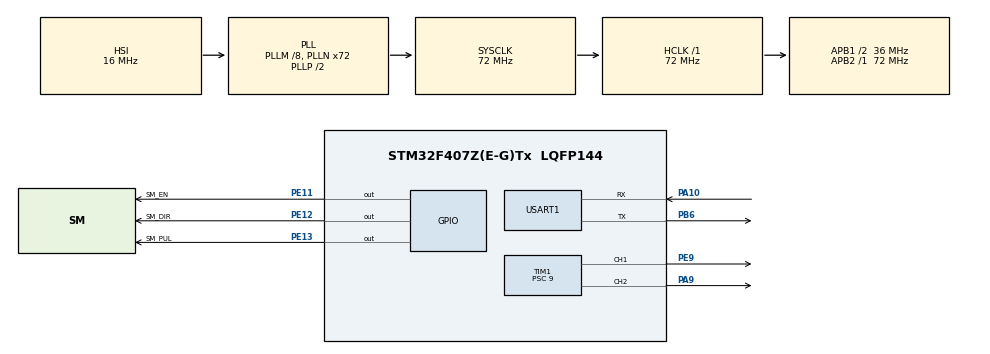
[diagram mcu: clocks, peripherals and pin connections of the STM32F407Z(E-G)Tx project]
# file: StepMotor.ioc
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Mcu.Family=STM32F4
Mcu.Name=STM32F407Z(E-G)Tx
Mcu.Package=LQFP144
NVIC.PriorityGroup=NVIC_PRIORITYGROUP_4
NVIC.TIM1_BRK_TIM9_IRQn=true\:0\:0\:false\:false\:true\:true\:true\:true
NVIC.TIM1_CC_IRQn=true\:0\:0\:false\:false\:true\:true\:true\:true
NVIC.TIM1_TRG_COM_TIM11_IRQn=true\:0\:0\:false\:false\:true\:true\:true\:true
NVIC.TIM1_UP_TIM10_IRQn=true\:0\:0\:false\:false\:true\:true\:true\:true
NVIC.USART1_IRQn=true\:0\:0\:false\:false\:true\:true\:true\:true
PA10.Mode=Asynchronous
PA10.Signal=USART1_RX
PA13.Mode=JTAG_4_pins
PA13.Signal=SYS_JTMS-SWDIO
PA14.Mode=JTAG_4_pins
PA14.Signal=SYS_JTCK-SWCLK
PA15.Mode=JTAG_4_pins
PA15.Signal=SYS_JTDI
PA9.Signal=S_TIM1_CH2
PB3.Mode=JTAG_4_pins
PB3.Signal=SYS_JTDO-SWO
PB6.Mode=Asynchronous
PB6.Signal=USART1_TX
PC14-OSC32_IN.Mode=LSE-External-Clock-Source
PC14-OSC32_IN.Signal=RCC_OSC32_IN
PC15-OSC32_OUT.Mode=LSE-External-Clock-Source
PC15-OSC32_OUT.Signal=RCC_OSC32_OUT
PE11.GPIO_Label=SM_EN
PE11.Signal=GPIO_Output
PE12.GPIO_Label=SM_DIR
PE12.Signal=GPIO_Output
PE13.GPIO_Label=SM_PUL
PE13.Signal=GPIO_Output
PE9.Signal=S_TIM1_CH1
PH0-OSC_IN.Mode=HSE-External-Clock-Source
PH0-OSC_IN.Signal=RCC_OSC_IN
PH1-OSC_OUT.Mode=HSE-External-Clock-Source
PH1-OSC_OUT.Signal=RCC_OSC_OUT
ProjectManager.HeapSize=0x200
ProjectManager.StackSize=0x400
ProjectManager.TargetToolchain=CMake
RCC.48MHZClocksFreq_Value=36000000
RCC.AHBFreq_Value=72000000
RCC.APB1CLKDivider=RCC_HCLK_DIV2
RCC.APB1Freq_Value=36000000
RCC.APB1TimFreq_Value=72000000
RCC.APB2Freq_Value=72000000
RCC.APB2TimFreq_Value=72000000
RCC.CortexFreq_Value=72000000
RCC.HCLKFreq_Value=72000000
RCC.HSE_VALUE=8000000
RCC.HSI_VALUE=16000000
RCC.LSE_VALUE=32768
RCC.PLLM=8
RCC.PLLN=72
RCC.SYSCLKFreq_VALUE=72000000
RCC.SYSCLKSource=RCC_SYSCLKSOURCE_PLLCLK
RCC.VCOOutputFreq_Value=144000000
SH.S_TIM1_CH1.0=TIM1_CH1,PWM Generation1 CH1
SH.S_TIM1_CH2.0=TIM1_CH2,PWM Generation2 CH2
TIM1.Channel-PWM\ Generation1\ CH1=TIM_CHANNEL_1
TIM1.Channel-PWM\ Generation2\ CH2=TIM_CHANNEL_2
TIM1.Period=999
TIM1.Prescaler=9
USART1.VirtualMode=VM_ASYNC
VP_TIM1_VS_ClockSourceINT.Mode=Internal
board=custom

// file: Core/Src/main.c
/* USER CODE BEGIN Header */
/**
 ******************************************************************************
 * @file           : main.c
 * @brief          : Main program body
 ******************************************************************************
 * @attention
 *
 * Copyright (c) 2024 STMicroelectronics.
 * All rights reserved.
 *
 * This software is licensed under terms that can be found in the LICENSE file
 * in the root directory of this software component.
 * If no LICENSE file comes with this software, it is provided AS-IS.
 *
 ******************************************************************************
 */
/* USER CODE END Header */
#include "main.h"

#include "gpio.h"
#include "tim.h"
#include "usart.h"

/* USER CODE BEGIN Includes */
#include <stdio.h>
/* USER CODE END Includes */

/* USER CODE BEGIN PV */
bool step_run = false;
/* USER CODE END PV */

void SystemClock_Config(void);

int main(void) {

  /* MCU Configuration--------------------------------------------------------*/

  /* Reset of all peripherals, Initializes the Flash interface and the Systick.
   */
  HAL_Init();

  /* Configure the system clock */
  SystemClock_Config();

  /* Initialize all configured peripherals */
  MX_GPIO_Init();
  MX_USART1_UART_Init();
  MX_TIM1_Init();
  /* USER CODE BEGIN 2 */

  printf("Program Start");

  HAL_GPIO_WritePin(SM_EN_GPIO_Port, SM_EN_Pin, GPIO_PIN_SET);
  HAL_GPIO_WritePin(SM_DIR_GPIO_Port, SM_DIR_Pin, GPIO_PIN_SET);

  __HAL_TIM_SetCompare(&htim1, TIM_CHANNEL_1, 500);
  __HAL_TIM_SetCompare(&htim1, TIM_CHANNEL_2, 500);

  HAL_TIM_PWM_Start(&htim1, TIM_CHANNEL_1);
  HAL_TIM_PWM_Start(&htim1, TIM_CHANNEL_2);

  step_run = true;

  /* USER CODE END 2 */

  /* Infinite loop */
  while (1) {

  }
}

void SystemClock_Config(void) {
  RCC_OscInitTypeDef RCC_OscInitStruct = {0};
  RCC_ClkInitTypeDef RCC_ClkInitStruct = {0};

  /** Configure the main internal regulator output voltage
   */
  __HAL_RCC_PWR_CLK_ENABLE();
  __HAL_PWR_VOLTAGESCALING_CONFIG(PWR_REGULATOR_VOLTAGE_SCALE1);

  /** Initializes the RCC Oscillators according to the specified parameters
   * in the RCC_OscInitTypeDef structure.
   */
  RCC_OscInitStruct.OscillatorType = RCC_OSCILLATORTYPE_HSI;
  RCC_OscInitStruct.HSIState = RCC_HSI_ON;
  RCC_OscInitStruct.HSICalibrationValue = RCC_HSICALIBRATION_DEFAULT;
  RCC_OscInitStruct.PLL.PLLState = RCC_PLL_ON;
  RCC_OscInitStruct.PLL.PLLSource = RCC_PLLSOURCE_HSI;
  RCC_OscInitStruct.PLL.PLLM = 8;
  RCC_OscInitStruct.PLL.PLLN = 72;
  RCC_OscInitStruct.PLL.PLLP = RCC_PLLP_DIV2;
  RCC_OscInitStruct.PLL.PLLQ = 4;
  if (HAL_RCC_OscConfig(&RCC_OscInitStruct) != HAL_OK) {
    Error_Handler();
  }

  /** Initializes the CPU, AHB and APB buses clocks
   */
  RCC_ClkInitStruct.ClockType = RCC_CLOCKTYPE_HCLK | RCC_CLOCKTYPE_SYSCLK |
                                RCC_CLOCKTYPE_PCLK1 | RCC_CLOCKTYPE_PCLK2;
  RCC_ClkInitStruct.SYSCLKSource = RCC_SYSCLKSOURCE_PLLCLK;
  RCC_ClkInitStruct.AHBCLKDivider = RCC_SYSCLK_DIV1;
  RCC_ClkInitStruct.APB1CLKDivider = RCC_HCLK_DIV2;
  RCC_ClkInitStruct.APB2CLKDivider = RCC_HCLK_DIV1;

  if (HAL_RCC_ClockConfig(&RCC_ClkInitStruct, FLASH_LATENCY_2) != HAL_OK) {
    Error_Handler();
  }
}

/* USER CODE BEGIN 4 */
int __io_putchar(int ch) {
  HAL_UART_Transmit(&huart1, (uint8_t *)&ch, 1, 0xFFFF);
  return ch;
}
/* USER CODE END 4 */

void Error_Handler(void) {
  __disable_irq();
  while (1) {
  }
}

#ifdef USE_FULL_ASSERT
/**
 * @brief  Reports the name of the source file and the source line number
 *         where the assert_param error has occurred.
 * @param  file: pointer to the source file name
 * @param  line: assert_param error line source number
 * @retval None
 */
void assert_failed(uint8_t *file, uint32_t line) {
  /* USER CODE BEGIN 6 */
  /* User can add his own implementation to report the file name and line
     number, ex: printf("Wrong parameters value: file %s on line %d\r\n", file,
     line) */
  /* USER CODE END 6 */
}
#endif /* USE_FULL_ASSERT */
